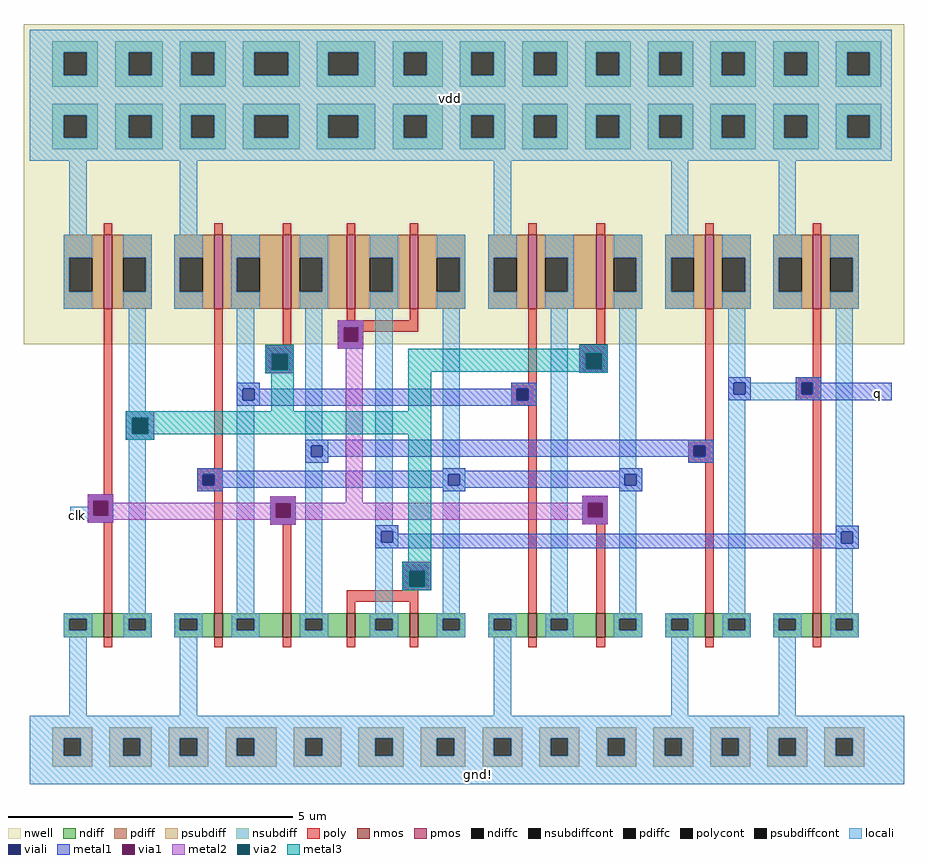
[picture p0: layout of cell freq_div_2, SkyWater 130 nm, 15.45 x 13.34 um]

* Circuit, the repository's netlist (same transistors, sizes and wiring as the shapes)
* NGSPICE file created from freq_div_2.ext - technology: sky130A


* Top level circuit freq_div_2

X0 q a_404_n776# vdd vdd sky130_fd_pr__pfet_01v8 w=1.3e+06u l=150000u
X1 a_239_n520# a_90_n776# a_835_n776# vdd sky130_fd_pr__pfet_01v8 w=1.3e+06u l=150000u
X2 a_404_n776# clk a_284_n776# gnd sky130_fd_pr__nfet_01v8 w=420000u l=150000u
X3 a_517_n776# clk a_404_n776# vdd sky130_fd_pr__pfet_01v8 w=1.3e+06u l=150000u
X4 a_835_n776# a_284_n776# gnd gnd sky130_fd_pr__nfet_01v8 w=420000u l=150000u
X5 a_517_n776# q gnd gnd sky130_fd_pr__nfet_01v8 w=420000u l=150000u
X6 a_239_n520# clk a_517_n776# vdd sky130_fd_pr__pfet_01v8 w=1.3e+06u l=150000u
X7 q a_404_n776# gnd gnd sky130_fd_pr__nfet_01v8 w=420000u l=150000u
X8 a_517_n776# a_90_n776# a_404_n776# gnd sky130_fd_pr__nfet_01v8 w=420000u l=150000u
X9 a_239_n520# clk a_835_n776# gnd sky130_fd_pr__nfet_01v8 w=420000u l=150000u
X10 a_90_n776# clk vdd vdd sky130_fd_pr__pfet_01v8 w=1.3e+06u l=150000u
X11 a_284_n776# a_239_n520# vdd vdd sky130_fd_pr__pfet_01v8 w=1.3e+06u l=150000u
X12 a_239_n520# a_90_n776# a_517_n776# gnd sky130_fd_pr__nfet_01v8 w=420000u l=150000u
X13 a_404_n776# a_90_n776# a_284_n776# vdd sky130_fd_pr__pfet_01v8 w=1.3e+06u l=150000u
X14 a_90_n776# clk gnd gnd sky130_fd_pr__nfet_01v8 w=420000u l=150000u
X15 a_835_n776# a_284_n776# vdd vdd sky130_fd_pr__pfet_01v8 w=1.3e+06u l=150000u
X16 a_284_n776# a_239_n520# gnd gnd sky130_fd_pr__nfet_01v8 w=420000u l=150000u
X17 a_517_n776# q vdd vdd sky130_fd_pr__pfet_01v8 w=1.3e+06u l=150000u
.end

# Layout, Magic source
magic
tech sky130A
<< nwell >>
rect -65 -262 1480 300
<< nmos >>
rect 75 -776 90 -734
rect 269 -776 284 -734
rect 389 -776 404 -734
rect 502 -776 517 -734
rect 612 -776 627 -734
rect 820 -776 835 -734
rect 940 -776 955 -734
rect 1131 -776 1146 -734
rect 1320 -776 1335 -734
<< pmos >>
rect 75 -200 90 -70
rect 269 -200 284 -70
rect 389 -200 404 -70
rect 502 -200 517 -70
rect 612 -200 627 -70
rect 820 -200 835 -70
rect 940 -200 955 -70
rect 1131 -200 1146 -70
rect 1320 -200 1335 -70
<< ndiff >>
rect 5 -744 75 -734
rect 5 -764 15 -744
rect 45 -764 75 -744
rect 5 -776 75 -764
rect 90 -744 159 -734
rect 90 -764 119 -744
rect 149 -764 159 -744
rect 90 -776 159 -764
rect 199 -744 269 -734
rect 199 -764 209 -744
rect 239 -764 269 -744
rect 199 -776 269 -764
rect 284 -744 389 -734
rect 284 -764 309 -744
rect 339 -764 389 -744
rect 284 -776 389 -764
rect 404 -744 502 -734
rect 404 -764 429 -744
rect 459 -764 502 -744
rect 404 -776 502 -764
rect 517 -744 612 -734
rect 517 -764 552 -744
rect 582 -764 612 -744
rect 517 -776 612 -764
rect 627 -744 710 -734
rect 627 -764 670 -744
rect 700 -764 710 -744
rect 627 -776 710 -764
rect 750 -744 820 -734
rect 750 -764 760 -744
rect 790 -764 820 -744
rect 750 -776 820 -764
rect 835 -744 940 -734
rect 835 -764 860 -744
rect 890 -764 940 -744
rect 835 -776 940 -764
rect 955 -744 1020 -734
rect 955 -764 980 -744
rect 1010 -764 1020 -744
rect 955 -776 1020 -764
rect 1061 -744 1131 -734
rect 1061 -764 1071 -744
rect 1101 -764 1131 -744
rect 1061 -776 1131 -764
rect 1146 -744 1211 -734
rect 1146 -764 1171 -744
rect 1201 -764 1211 -744
rect 1146 -776 1211 -764
rect 1250 -744 1320 -734
rect 1250 -764 1260 -744
rect 1290 -764 1320 -744
rect 1250 -776 1320 -764
rect 1335 -744 1400 -734
rect 1335 -764 1360 -744
rect 1390 -764 1400 -744
rect 1335 -776 1400 -764
<< pdiff >>
rect 5 -110 75 -70
rect 5 -170 15 -110
rect 55 -170 75 -110
rect 5 -200 75 -170
rect 90 -110 159 -70
rect 90 -170 109 -110
rect 149 -170 159 -110
rect 90 -200 159 -170
rect 199 -110 269 -70
rect 199 -170 209 -110
rect 249 -170 269 -110
rect 199 -200 269 -170
rect 284 -110 389 -70
rect 284 -170 309 -110
rect 349 -170 389 -110
rect 284 -200 389 -170
rect 404 -110 502 -70
rect 404 -170 419 -110
rect 459 -170 502 -110
rect 404 -200 502 -170
rect 517 -110 612 -70
rect 517 -170 542 -110
rect 582 -170 612 -110
rect 517 -200 612 -170
rect 627 -110 710 -70
rect 627 -170 660 -110
rect 700 -170 710 -110
rect 627 -200 710 -170
rect 750 -110 820 -70
rect 750 -170 760 -110
rect 800 -170 820 -110
rect 750 -200 820 -170
rect 835 -110 940 -70
rect 835 -170 850 -110
rect 890 -170 940 -110
rect 835 -200 940 -170
rect 955 -110 1020 -70
rect 955 -170 970 -110
rect 1010 -170 1020 -110
rect 955 -200 1020 -170
rect 1061 -110 1131 -70
rect 1061 -170 1071 -110
rect 1111 -170 1131 -110
rect 1061 -200 1131 -170
rect 1146 -110 1211 -70
rect 1146 -170 1161 -110
rect 1201 -170 1211 -110
rect 1146 -200 1211 -170
rect 1250 -110 1320 -70
rect 1250 -170 1260 -110
rect 1300 -170 1320 -110
rect 1250 -200 1320 -170
rect 1335 -110 1400 -70
rect 1335 -170 1350 -110
rect 1390 -170 1400 -110
rect 1335 -200 1400 -170
<< ndiffc >>
rect 15 -764 45 -744
rect 119 -764 149 -744
rect 209 -764 239 -744
rect 309 -764 339 -744
rect 429 -764 459 -744
rect 552 -764 582 -744
rect 670 -764 700 -744
rect 760 -764 790 -744
rect 860 -764 890 -744
rect 980 -764 1010 -744
rect 1071 -764 1101 -744
rect 1171 -764 1201 -744
rect 1260 -764 1290 -744
rect 1360 -764 1390 -744
<< pdiffc >>
rect 15 -170 55 -110
rect 109 -170 149 -110
rect 209 -170 249 -110
rect 309 -170 349 -110
rect 419 -170 459 -110
rect 542 -170 582 -110
rect 660 -170 700 -110
rect 760 -170 800 -110
rect 850 -170 890 -110
rect 970 -170 1010 -110
rect 1071 -170 1111 -110
rect 1161 -170 1201 -110
rect 1260 -170 1300 -110
rect 1350 -170 1390 -110
<< psubdiff >>
rect -15 -954 55 -934
rect -15 -984 5 -954
rect 35 -984 55 -954
rect -15 -1004 55 -984
rect 85 -954 159 -934
rect 85 -984 109 -954
rect 139 -984 159 -954
rect 85 -1004 159 -984
rect 189 -954 259 -934
rect 189 -984 209 -954
rect 239 -984 259 -954
rect 189 -1004 259 -984
rect 289 -954 379 -934
rect 289 -984 309 -954
rect 339 -984 379 -954
rect 289 -1004 379 -984
rect 409 -954 492 -934
rect 409 -984 429 -954
rect 459 -984 492 -954
rect 409 -1004 492 -984
rect 522 -954 602 -934
rect 522 -984 552 -954
rect 582 -984 602 -954
rect 522 -1004 602 -984
rect 632 -954 710 -934
rect 632 -984 660 -954
rect 690 -984 710 -954
rect 632 -1004 710 -984
rect 740 -954 810 -934
rect 740 -984 760 -954
rect 790 -984 810 -954
rect 740 -1004 810 -984
rect 840 -954 910 -934
rect 840 -984 860 -954
rect 890 -984 910 -954
rect 840 -1004 910 -984
rect 940 -954 1010 -934
rect 940 -984 960 -954
rect 990 -984 1010 -954
rect 940 -1004 1010 -984
rect 1040 -954 1110 -934
rect 1040 -984 1060 -954
rect 1090 -984 1110 -954
rect 1040 -1004 1110 -984
rect 1140 -954 1210 -934
rect 1140 -984 1160 -954
rect 1190 -984 1210 -954
rect 1140 -1004 1210 -984
rect 1240 -954 1310 -934
rect 1240 -984 1260 -954
rect 1290 -984 1310 -954
rect 1240 -1004 1310 -984
rect 1340 -954 1410 -934
rect 1340 -984 1360 -954
rect 1390 -984 1410 -954
rect 1340 -1004 1410 -984
<< nsubdiff >>
rect -15 250 65 270
rect -15 210 5 250
rect 45 210 65 250
rect -15 190 65 210
rect 95 250 179 270
rect 95 210 119 250
rect 159 210 179 250
rect 95 190 179 210
rect 209 250 289 270
rect 209 210 229 250
rect 269 210 289 250
rect 209 190 289 210
rect 319 250 419 270
rect 319 210 339 250
rect 399 210 419 250
rect 319 190 419 210
rect 449 250 552 270
rect 449 210 469 250
rect 522 210 552 250
rect 449 190 552 210
rect 582 250 670 270
rect 582 210 602 250
rect 642 210 670 250
rect 582 190 670 210
rect 700 250 780 270
rect 700 210 720 250
rect 760 210 780 250
rect 700 190 780 210
rect 810 250 890 270
rect 810 210 830 250
rect 870 210 890 250
rect 810 190 890 210
rect 920 250 1000 270
rect 920 210 940 250
rect 980 210 1000 250
rect 920 190 1000 210
rect 1030 250 1110 270
rect 1030 210 1050 250
rect 1090 210 1110 250
rect 1030 190 1110 210
rect 1140 250 1220 270
rect 1140 210 1160 250
rect 1200 210 1220 250
rect 1140 190 1220 210
rect 1250 250 1330 270
rect 1250 210 1270 250
rect 1310 210 1330 250
rect 1250 190 1330 210
rect 1360 250 1440 270
rect 1360 210 1380 250
rect 1420 210 1440 250
rect 1360 190 1440 210
rect -15 140 65 160
rect -15 100 5 140
rect 45 100 65 140
rect -15 80 65 100
rect 95 140 179 160
rect 95 100 119 140
rect 159 100 179 140
rect 95 80 179 100
rect 209 140 289 160
rect 209 100 229 140
rect 269 100 289 140
rect 209 80 289 100
rect 319 140 419 160
rect 319 100 339 140
rect 399 100 419 140
rect 319 80 419 100
rect 449 140 552 160
rect 449 100 469 140
rect 522 100 552 140
rect 449 80 552 100
rect 582 140 670 160
rect 582 100 602 140
rect 642 100 670 140
rect 582 80 670 100
rect 700 140 780 160
rect 700 100 720 140
rect 760 100 780 140
rect 700 80 780 100
rect 810 140 890 160
rect 810 100 830 140
rect 870 100 890 140
rect 810 80 890 100
rect 920 140 1000 160
rect 920 100 940 140
rect 980 100 1000 140
rect 920 80 1000 100
rect 1030 140 1110 160
rect 1030 100 1050 140
rect 1090 100 1110 140
rect 1030 80 1110 100
rect 1140 140 1220 160
rect 1140 100 1160 140
rect 1200 100 1220 140
rect 1140 80 1220 100
rect 1250 140 1330 160
rect 1250 100 1270 140
rect 1310 100 1330 140
rect 1250 80 1330 100
rect 1360 140 1440 160
rect 1360 100 1380 140
rect 1420 100 1440 140
rect 1360 80 1440 100
<< psubdiffcont >>
rect 5 -984 35 -954
rect 109 -984 139 -954
rect 209 -984 239 -954
rect 309 -984 339 -954
rect 429 -984 459 -954
rect 552 -984 582 -954
rect 660 -984 690 -954
rect 760 -984 790 -954
rect 860 -984 890 -954
rect 960 -984 990 -954
rect 1060 -984 1090 -954
rect 1160 -984 1190 -954
rect 1260 -984 1290 -954
rect 1360 -984 1390 -954
<< nsubdiffcont >>
rect 5 210 45 250
rect 119 210 159 250
rect 229 210 269 250
rect 339 210 399 250
rect 469 210 522 250
rect 602 210 642 250
rect 720 210 760 250
rect 830 210 870 250
rect 940 210 980 250
rect 1050 210 1090 250
rect 1160 210 1200 250
rect 1270 210 1310 250
rect 1380 210 1420 250
rect 5 100 45 140
rect 119 100 159 140
rect 229 100 269 140
rect 339 100 399 140
rect 469 100 522 140
rect 602 100 642 140
rect 720 100 760 140
rect 830 100 870 140
rect 940 100 980 140
rect 1050 100 1090 140
rect 1160 100 1200 140
rect 1270 100 1310 140
rect 1380 100 1420 140
<< poly >>
rect 75 -70 90 -50
rect 269 -70 284 -50
rect 389 -70 404 -50
rect 502 -70 517 -50
rect 612 -70 627 -50
rect 820 -70 835 -50
rect 940 -70 955 -50
rect 1131 -70 1146 -50
rect 1320 -70 1335 -50
rect 75 -525 90 -200
rect 269 -480 284 -200
rect 389 -263 404 -200
rect 502 -220 517 -200
rect 612 -220 627 -200
rect 486 -232 627 -220
rect 486 -258 496 -232
rect 522 -240 627 -232
rect 522 -258 531 -240
rect 359 -279 409 -263
rect 486 -270 531 -258
rect 359 -307 370 -279
rect 398 -307 409 -279
rect 359 -313 409 -307
rect 820 -330 835 -200
rect 940 -262 955 -200
rect 910 -278 960 -262
rect 910 -306 921 -278
rect 949 -306 960 -278
rect 910 -312 960 -306
rect 790 -340 835 -330
rect 790 -360 800 -340
rect 820 -360 835 -340
rect 790 -370 835 -360
rect 239 -490 284 -480
rect 239 -510 249 -490
rect 269 -510 284 -490
rect 239 -520 284 -510
rect 47 -537 92 -525
rect 47 -563 57 -537
rect 83 -563 92 -537
rect 47 -575 92 -563
rect 75 -734 90 -575
rect 269 -734 284 -520
rect 367 -541 412 -529
rect 367 -567 377 -541
rect 403 -567 412 -541
rect 367 -579 412 -567
rect 389 -734 404 -579
rect 599 -660 650 -644
rect 599 -688 611 -660
rect 639 -688 650 -660
rect 599 -694 650 -688
rect 502 -714 627 -694
rect 502 -734 517 -714
rect 612 -734 627 -714
rect 820 -734 835 -370
rect 1131 -430 1146 -200
rect 1320 -320 1335 -200
rect 1290 -330 1335 -320
rect 1290 -350 1300 -330
rect 1320 -350 1335 -330
rect 1290 -360 1335 -350
rect 1101 -440 1146 -430
rect 1101 -460 1111 -440
rect 1131 -460 1146 -440
rect 1101 -470 1146 -460
rect 915 -540 960 -528
rect 915 -566 925 -540
rect 951 -566 960 -540
rect 915 -578 960 -566
rect 940 -734 955 -578
rect 1131 -734 1146 -470
rect 1320 -734 1335 -360
rect 75 -794 90 -776
rect 269 -794 284 -776
rect 389 -794 404 -776
rect 502 -794 517 -776
rect 612 -794 627 -776
rect 820 -794 835 -776
rect 940 -794 955 -776
rect 1131 -794 1146 -776
rect 1320 -794 1335 -776
<< polycont >>
rect 496 -258 522 -232
rect 370 -307 398 -279
rect 921 -306 949 -278
rect 800 -360 820 -340
rect 249 -510 269 -490
rect 57 -563 83 -537
rect 377 -567 403 -541
rect 611 -688 639 -660
rect 1300 -350 1320 -330
rect 1111 -460 1131 -440
rect 925 -566 951 -540
<< locali >>
rect -55 250 1458 290
rect -55 210 5 250
rect 45 210 119 250
rect 159 210 229 250
rect 269 210 339 250
rect 399 210 469 250
rect 522 210 602 250
rect 642 210 720 250
rect 760 210 830 250
rect 870 210 940 250
rect 980 210 1050 250
rect 1090 210 1160 250
rect 1200 210 1270 250
rect 1310 210 1380 250
rect 1420 210 1458 250
rect -55 140 1458 210
rect -55 100 5 140
rect 45 100 119 140
rect 159 100 229 140
rect 269 100 339 140
rect 399 100 469 140
rect 522 100 602 140
rect 642 100 720 140
rect 760 100 830 140
rect 870 100 940 140
rect 980 100 1050 140
rect 1090 100 1160 140
rect 1200 100 1270 140
rect 1310 100 1380 140
rect 1420 100 1458 140
rect -55 60 1458 100
rect 15 -70 45 60
rect 209 -70 239 60
rect 760 -70 790 60
rect 1071 -70 1101 60
rect 1260 -70 1290 60
rect 5 -110 55 -70
rect 5 -170 15 -110
rect 5 -200 55 -170
rect 109 -110 159 -70
rect 149 -170 159 -110
rect 109 -200 159 -170
rect 199 -110 249 -70
rect 199 -170 209 -110
rect 199 -200 249 -170
rect 299 -110 349 -70
rect 299 -170 309 -110
rect 299 -200 349 -170
rect 419 -110 469 -70
rect 459 -170 469 -110
rect 419 -200 469 -170
rect 542 -110 592 -70
rect 582 -170 592 -110
rect 542 -200 592 -170
rect 660 -110 710 -70
rect 700 -170 710 -110
rect 660 -200 710 -170
rect 750 -110 800 -70
rect 750 -170 760 -110
rect 750 -200 800 -170
rect 850 -110 900 -70
rect 890 -170 900 -110
rect 850 -200 900 -170
rect 970 -110 1020 -70
rect 1010 -170 1020 -110
rect 970 -200 1020 -170
rect 1061 -110 1111 -70
rect 1061 -170 1071 -110
rect 1061 -200 1111 -170
rect 1161 -110 1211 -70
rect 1201 -170 1211 -110
rect 1161 -200 1211 -170
rect 1250 -110 1300 -70
rect 1250 -170 1260 -110
rect 1250 -200 1300 -170
rect 1350 -110 1400 -70
rect 1390 -170 1400 -110
rect 1350 -200 1400 -170
rect 119 -380 149 -200
rect 309 -330 339 -200
rect 359 -279 409 -263
rect 359 -307 370 -279
rect 398 -307 409 -279
rect 359 -313 409 -307
rect 309 -340 349 -330
rect 309 -360 319 -340
rect 339 -360 349 -340
rect 309 -370 349 -360
rect 114 -391 164 -380
rect 114 -419 125 -391
rect 153 -419 164 -391
rect 114 -430 164 -419
rect 47 -537 92 -525
rect 47 -547 57 -537
rect 16 -563 57 -547
rect 83 -563 92 -537
rect 16 -572 92 -563
rect 47 -575 92 -572
rect 119 -734 149 -430
rect 239 -490 284 -480
rect 239 -510 249 -490
rect 269 -510 284 -490
rect 239 -520 284 -510
rect 309 -734 339 -370
rect 429 -430 459 -200
rect 486 -232 531 -220
rect 486 -258 496 -232
rect 522 -258 531 -232
rect 486 -270 531 -258
rect 429 -440 469 -430
rect 429 -460 439 -440
rect 459 -460 469 -440
rect 429 -470 469 -460
rect 367 -541 412 -529
rect 367 -567 377 -541
rect 403 -567 412 -541
rect 367 -579 412 -567
rect 429 -734 459 -470
rect 552 -580 582 -200
rect 670 -480 700 -200
rect 790 -340 835 -330
rect 790 -360 800 -340
rect 820 -360 835 -340
rect 790 -370 835 -360
rect 670 -490 710 -480
rect 670 -510 680 -490
rect 700 -510 710 -490
rect 670 -520 710 -510
rect 552 -590 592 -580
rect 552 -610 562 -590
rect 582 -610 592 -590
rect 552 -620 592 -610
rect 552 -734 582 -620
rect 599 -660 650 -644
rect 599 -688 611 -660
rect 639 -688 650 -660
rect 599 -694 650 -688
rect 670 -734 700 -520
rect 860 -734 890 -200
rect 910 -278 960 -262
rect 910 -306 921 -278
rect 949 -306 960 -278
rect 910 -312 960 -306
rect 980 -480 1010 -200
rect 1171 -320 1201 -200
rect 1171 -330 1211 -320
rect 1290 -330 1335 -320
rect 1171 -350 1181 -330
rect 1201 -350 1300 -330
rect 1320 -350 1335 -330
rect 1171 -360 1335 -350
rect 1101 -440 1146 -430
rect 1101 -460 1111 -440
rect 1131 -460 1146 -440
rect 1101 -470 1146 -460
rect 980 -490 1020 -480
rect 980 -510 990 -490
rect 1010 -510 1020 -490
rect 980 -520 1020 -510
rect 915 -540 960 -528
rect 915 -566 925 -540
rect 951 -566 960 -540
rect 915 -578 960 -566
rect 980 -734 1010 -520
rect 1171 -734 1201 -360
rect 1360 -581 1390 -200
rect 1360 -591 1400 -581
rect 1360 -611 1370 -591
rect 1390 -611 1400 -591
rect 1360 -621 1400 -611
rect 1360 -734 1390 -621
rect 5 -744 55 -734
rect 5 -764 15 -744
rect 45 -764 55 -744
rect 5 -776 55 -764
rect 109 -744 159 -734
rect 109 -764 119 -744
rect 149 -764 159 -744
rect 109 -776 159 -764
rect 199 -744 249 -734
rect 199 -764 209 -744
rect 239 -764 249 -744
rect 199 -776 249 -764
rect 299 -744 349 -734
rect 299 -764 309 -744
rect 339 -764 349 -744
rect 299 -776 349 -764
rect 419 -744 469 -734
rect 419 -764 429 -744
rect 459 -764 469 -744
rect 419 -776 469 -764
rect 542 -744 592 -734
rect 542 -764 552 -744
rect 582 -764 592 -744
rect 542 -776 592 -764
rect 660 -744 710 -734
rect 660 -764 670 -744
rect 700 -764 710 -744
rect 660 -776 710 -764
rect 750 -744 800 -734
rect 750 -764 760 -744
rect 790 -764 800 -744
rect 750 -776 800 -764
rect 850 -744 900 -734
rect 850 -764 860 -744
rect 890 -764 900 -744
rect 850 -776 900 -764
rect 970 -744 1020 -734
rect 970 -764 980 -744
rect 1010 -764 1020 -744
rect 970 -776 1020 -764
rect 1061 -744 1111 -734
rect 1061 -764 1071 -744
rect 1101 -764 1111 -744
rect 1061 -776 1111 -764
rect 1161 -744 1211 -734
rect 1161 -764 1171 -744
rect 1201 -764 1211 -744
rect 1161 -776 1211 -764
rect 1250 -744 1300 -734
rect 1250 -764 1260 -744
rect 1290 -764 1300 -744
rect 1250 -776 1300 -764
rect 1350 -744 1400 -734
rect 1350 -764 1360 -744
rect 1390 -764 1400 -744
rect 1350 -776 1400 -764
rect 15 -914 45 -776
rect 209 -914 239 -776
rect 760 -914 790 -776
rect 1071 -914 1101 -776
rect 1260 -914 1290 -776
rect -55 -954 1480 -914
rect -55 -984 5 -954
rect 35 -984 109 -954
rect 139 -984 209 -954
rect 239 -984 309 -954
rect 339 -984 429 -954
rect 459 -984 552 -954
rect 582 -984 660 -954
rect 690 -984 760 -954
rect 790 -984 860 -954
rect 890 -984 960 -954
rect 990 -984 1060 -954
rect 1090 -984 1160 -954
rect 1190 -984 1260 -954
rect 1290 -984 1360 -954
rect 1390 -984 1480 -954
rect -55 -1034 1480 -984
<< viali >>
rect 370 -307 398 -279
rect 319 -360 339 -340
rect 125 -419 153 -391
rect 57 -563 83 -537
rect 249 -510 269 -490
rect 496 -258 522 -232
rect 439 -460 459 -440
rect 377 -567 403 -541
rect 800 -360 820 -340
rect 680 -510 700 -490
rect 562 -610 582 -590
rect 611 -688 639 -660
rect 921 -306 949 -278
rect 1181 -350 1201 -330
rect 1300 -350 1320 -330
rect 1111 -460 1131 -440
rect 990 -510 1010 -490
rect 925 -566 951 -540
rect 1370 -611 1390 -591
<< metal1 >>
rect 486 -232 531 -220
rect 486 -258 496 -232
rect 522 -258 531 -232
rect 359 -279 409 -263
rect 486 -270 531 -258
rect 359 -307 370 -279
rect 398 -307 409 -279
rect 359 -313 409 -307
rect 910 -278 960 -262
rect 910 -306 921 -278
rect 949 -306 960 -278
rect 910 -312 960 -306
rect 1171 -330 1211 -320
rect 309 -340 349 -330
rect 790 -340 835 -330
rect 309 -360 319 -340
rect 339 -360 800 -340
rect 820 -360 835 -340
rect 1171 -350 1181 -330
rect 1201 -350 1211 -330
rect 1171 -360 1211 -350
rect 1290 -330 1335 -320
rect 1290 -350 1300 -330
rect 1320 -350 1458 -330
rect 1290 -360 1458 -350
rect 309 -370 835 -360
rect 114 -391 164 -380
rect 114 -419 125 -391
rect 153 -419 164 -391
rect 114 -430 164 -419
rect 429 -440 1146 -430
rect 429 -460 439 -440
rect 459 -460 1111 -440
rect 1131 -460 1146 -440
rect 429 -470 469 -460
rect 1101 -470 1146 -460
rect 239 -484 284 -480
rect 670 -484 710 -480
rect 980 -484 1020 -480
rect 239 -490 1020 -484
rect 239 -510 249 -490
rect 269 -510 680 -490
rect 700 -510 990 -490
rect 1010 -510 1020 -490
rect 239 -514 1020 -510
rect 239 -520 284 -514
rect 670 -520 710 -514
rect 980 -520 1020 -514
rect 47 -537 92 -525
rect 47 -563 57 -537
rect 83 -563 92 -537
rect 47 -575 92 -563
rect 367 -541 412 -529
rect 367 -567 377 -541
rect 403 -567 412 -541
rect 367 -579 412 -567
rect 915 -540 960 -528
rect 915 -566 925 -540
rect 951 -566 960 -540
rect 915 -578 960 -566
rect 552 -590 592 -580
rect 552 -610 562 -590
rect 582 -595 592 -590
rect 1360 -591 1400 -581
rect 1360 -595 1370 -591
rect 582 -610 1370 -595
rect 552 -611 1370 -610
rect 1390 -611 1400 -591
rect 552 -620 1400 -611
rect 1360 -621 1400 -620
rect 599 -660 650 -644
rect 599 -688 611 -660
rect 639 -688 650 -660
rect 599 -694 650 -688
<< via1 >>
rect 496 -258 522 -232
rect 370 -307 398 -279
rect 921 -306 949 -278
rect 125 -419 153 -391
rect 57 -563 83 -537
rect 377 -567 403 -541
rect 925 -566 951 -540
rect 611 -688 639 -660
<< metal2 >>
rect 486 -232 531 -220
rect 486 -258 496 -232
rect 522 -258 531 -232
rect 359 -279 409 -263
rect 486 -270 531 -258
rect 359 -307 370 -279
rect 398 -307 409 -279
rect 359 -313 409 -307
rect 114 -391 164 -380
rect 114 -419 125 -391
rect 153 -419 164 -391
rect 114 -430 164 -419
rect 47 -537 92 -525
rect 47 -563 57 -537
rect 83 -540 92 -537
rect 367 -540 412 -529
rect 500 -540 530 -270
rect 910 -278 960 -262
rect 910 -306 921 -278
rect 949 -306 960 -278
rect 910 -312 960 -306
rect 915 -540 960 -528
rect 83 -541 925 -540
rect 83 -563 377 -541
rect 47 -567 377 -563
rect 403 -566 925 -541
rect 951 -566 960 -540
rect 403 -567 960 -566
rect 47 -570 960 -567
rect 47 -575 92 -570
rect 367 -579 412 -570
rect 915 -578 960 -570
rect 599 -660 650 -644
rect 599 -688 611 -660
rect 639 -688 650 -660
rect 599 -694 650 -688
<< via2 >>
rect 370 -307 398 -279
rect 125 -419 153 -391
rect 921 -306 949 -278
rect 611 -688 639 -660
<< metal3 >>
rect 359 -279 409 -263
rect 910 -270 960 -262
rect 359 -307 370 -279
rect 398 -307 409 -279
rect 359 -313 409 -307
rect 369 -380 409 -313
rect 610 -278 960 -270
rect 610 -306 921 -278
rect 949 -306 960 -278
rect 610 -310 960 -306
rect 610 -380 650 -310
rect 910 -312 960 -310
rect 114 -391 650 -380
rect 114 -419 125 -391
rect 153 -419 650 -391
rect 114 -420 650 -419
rect 114 -430 164 -420
rect 610 -644 650 -420
rect 599 -660 650 -644
rect 599 -688 611 -660
rect 639 -688 650 -660
rect 599 -694 650 -688
<< labels >>
rlabel locali 709 -1027 757 -1008 1 gnd!
rlabel locali 673 164 693 176 1 vdd
rlabel locali 22 -567 35 -559 1 clk
rlabel metal1 1415 -358 1453 -338 1 q
<< end >>
